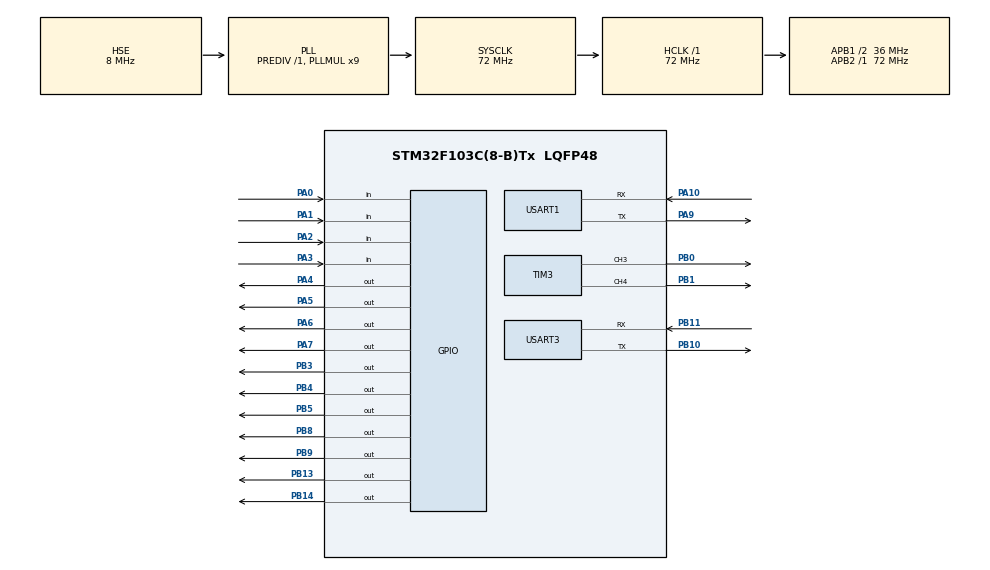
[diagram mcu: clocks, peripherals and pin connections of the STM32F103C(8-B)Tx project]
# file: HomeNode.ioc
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Mcu.Family=STM32F1
Mcu.Name=STM32F103C(8-B)Tx
Mcu.Package=LQFP48
NVIC.PriorityGroup=NVIC_PRIORITYGROUP_4
NVIC.USART3_IRQn=true\:0\:0\:false\:false\:true\:true\:true\:true
PA0-WKUP.Signal=GPIO_Input
PA1.Signal=GPIO_Input
PA10.Mode=Asynchronous
PA10.Signal=USART1_RX
PA13.Mode=Serial_Wire
PA13.Signal=SYS_JTMS-SWDIO
PA14.Mode=Serial_Wire
PA14.Signal=SYS_JTCK-SWCLK
PA2.Signal=GPIO_Input
PA3.Signal=GPIO_Input
PA4.Signal=GPIO_Output
PA5.Signal=GPIO_Output
PA6.Signal=GPIO_Output
PA7.Signal=GPIO_Output
PA9.Mode=Asynchronous
PA9.Signal=USART1_TX
PB0.Signal=S_TIM3_CH3
PB1.Signal=S_TIM3_CH4
PB10.Mode=Asynchronous
PB10.Signal=USART3_TX
PB11.Mode=Asynchronous
PB11.Signal=USART3_RX
PB13.Signal=GPIO_Output
PB14.Signal=GPIO_Output
PB3.Signal=GPIO_Output
PB4.Signal=GPIO_Output
PB5.Signal=GPIO_Output
PB8.Signal=GPIO_Output
PB9.Signal=GPIO_Output
PC14-OSC32_IN.Mode=LSE-External-Oscillator
PC14-OSC32_IN.Signal=RCC_OSC32_IN
PC15-OSC32_OUT.Mode=LSE-External-Oscillator
PC15-OSC32_OUT.Signal=RCC_OSC32_OUT
PD0-OSC_IN.Mode=HSE-External-Oscillator
PD0-OSC_IN.Signal=RCC_OSC_IN
PD1-OSC_OUT.Mode=HSE-External-Oscillator
PD1-OSC_OUT.Signal=RCC_OSC_OUT
ProjectManager.HeapSize=0x200
ProjectManager.StackSize=0x400
ProjectManager.TargetToolchain=CMake
RCC.AHBFreq_Value=72000000
RCC.APB1CLKDivider=RCC_HCLK_DIV2
RCC.APB1Freq_Value=36000000
RCC.APB1TimFreq_Value=72000000
RCC.APB2Freq_Value=72000000
RCC.APB2TimFreq_Value=72000000
RCC.HCLKFreq_Value=72000000
RCC.PLLMUL=RCC_PLL_MUL9
RCC.PLLSourceVirtual=RCC_PLLSOURCE_HSE
RCC.RTCClockSelection=RCC_RTCCLKSOURCE_LSE
RCC.SYSCLKFreq_VALUE=72000000
RCC.SYSCLKSource=RCC_SYSCLKSOURCE_PLLCLK
RCC.USBFreq_Value=72000000
SH.S_TIM3_CH3.0=TIM3_CH3,PWM Generation3 CH3
SH.S_TIM3_CH4.0=TIM3_CH4,PWM Generation4 CH4
TIM2.Prescaler=71
TIM3.Channel-PWM\ Generation3\ CH3=TIM_CHANNEL_3
TIM3.Channel-PWM\ Generation4\ CH4=TIM_CHANNEL_4
USART1.VirtualMode=VM_ASYNC
USART3.VirtualMode=VM_ASYNC
VP_RTC_VS_RTC_Activate.Mode=RTC_Enabled
VP_RTC_VS_RTC_Calendar.Mode=RTC_Calendar
VP_TIM2_VS_ClockSourceINT.Mode=Internal
board=custom

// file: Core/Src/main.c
/* USER CODE BEGIN Header */
/**
  ******************************************************************************
  * @file           : main.c
  * @brief          : Main program body
  ******************************************************************************
  * @attention
  *
  * Copyright (c) 2026 STMicroelectronics.
  * All rights reserved.
  *
  * This software is licensed under terms that can be found in the LICENSE file
  * in the root directory of this software component.
  * If no LICENSE file comes with this software, it is provided AS-IS.
  *
  ******************************************************************************
  */
/* USER CODE END Header */
#include "main.h"
#include "rtc.h"
#include "tim.h"
#include "usart.h"
#include "gpio.h"

/* USER CODE BEGIN Includes */
#include "app_node.h"
#include <string.h>

/* USER CODE END Includes */

/* USER CODE BEGIN PD */

#define APP_USE_DEBUG_UART1 1U

/* USER CODE END PD */

/* USER CODE BEGIN PV */
static APP_NodeContext g_node;
volatile uint32_t g_bootStage = 0U;
volatile uint32_t g_errorStage = 0U;

/* USER CODE END PV */

void SystemClock_Config(void);

int main(void)
{

  /* MCU Configuration--------------------------------------------------------*/

  /* Reset of all peripherals, Initializes the Flash interface and the Systick. */
  g_bootStage = 10U;
  HAL_Init();

  /* Configure the system clock */
  g_bootStage = 20U;
  SystemClock_Config();

  /* Initialize all configured peripherals */
  g_bootStage = 30U;
  MX_GPIO_Init();
  g_bootStage = 40U;
  MX_RTC_Init();
  g_bootStage = 50U;
  MX_TIM2_Init();
  g_bootStage = 60U;
  MX_TIM3_Init();
  g_bootStage = 70U;
  MX_USART3_UART_Init();
  g_bootStage = 80U;
  MX_USART1_UART_Init();
  /* USER CODE BEGIN 2 */
#if APP_USE_DEBUG_UART1
  extern UART_HandleTypeDef huart1;
  const char bootMessage[] = "[BOOT] USART1 debug ready\r\n";
  APP_Node_SetDebugUart(&huart1);
  (void)HAL_UART_Transmit(&huart1,
                          (uint8_t*)bootMessage,
                          (uint16_t)strlen(bootMessage),
                          1000U);
#endif

  g_bootStage = 90U;
  if (APP_Node_Init(&g_node) != HAL_OK)
  {
    Error_Handler();
  }

  /* USER CODE END 2 */

  /* Infinite loop */
  while (1)
  {

    /* USER CODE BEGIN 3 */
    /* Single app tick: local IO, sensor poll and ESP state machine are all inside. */
    APP_Node_Process(&g_node);
  }
  /* USER CODE END 3 */
}

void SystemClock_Config(void)
{
  RCC_OscInitTypeDef RCC_OscInitStruct = {0};
  RCC_ClkInitTypeDef RCC_ClkInitStruct = {0};
  RCC_PeriphCLKInitTypeDef PeriphClkInit = {0};

  /** Initializes the RCC Oscillators according to the specified parameters
  * in the RCC_OscInitTypeDef structure.
  */
  RCC_OscInitStruct.OscillatorType = RCC_OSCILLATORTYPE_HSE|RCC_OSCILLATORTYPE_LSI;
  RCC_OscInitStruct.HSEState = RCC_HSE_ON;
  RCC_OscInitStruct.HSEPredivValue = RCC_HSE_PREDIV_DIV1;
  RCC_OscInitStruct.LSIState = RCC_LSI_ON;
  RCC_OscInitStruct.HSIState = RCC_HSI_ON;
  RCC_OscInitStruct.PLL.PLLState = RCC_PLL_ON;
  RCC_OscInitStruct.PLL.PLLSource = RCC_PLLSOURCE_HSE;
  RCC_OscInitStruct.PLL.PLLMUL = RCC_PLL_MUL9;
  g_bootStage = 21U;
  if (HAL_RCC_OscConfig(&RCC_OscInitStruct) != HAL_OK)
  {
    Error_Handler();
  }

  /** Initializes the CPU, AHB and APB buses clocks
  */
  RCC_ClkInitStruct.ClockType = RCC_CLOCKTYPE_HCLK|RCC_CLOCKTYPE_SYSCLK
                              |RCC_CLOCKTYPE_PCLK1|RCC_CLOCKTYPE_PCLK2;
  RCC_ClkInitStruct.SYSCLKSource = RCC_SYSCLKSOURCE_PLLCLK;
  RCC_ClkInitStruct.AHBCLKDivider = RCC_SYSCLK_DIV1;
  RCC_ClkInitStruct.APB1CLKDivider = RCC_HCLK_DIV2;
  RCC_ClkInitStruct.APB2CLKDivider = RCC_HCLK_DIV1;

  g_bootStage = 22U;
  if (HAL_RCC_ClockConfig(&RCC_ClkInitStruct, FLASH_LATENCY_2) != HAL_OK)
  {
    Error_Handler();
  }
  PeriphClkInit.PeriphClockSelection = RCC_PERIPHCLK_RTC;
  PeriphClkInit.RTCClockSelection = RCC_RTCCLKSOURCE_LSI;
  g_bootStage = 23U;
  if (HAL_RCCEx_PeriphCLKConfig(&PeriphClkInit) != HAL_OK)
  {
    Error_Handler();
  }
}

void Error_Handler(void)
{
  /* USER CODE BEGIN Error_Handler_Debug */
  /* User can add his own implementation to report the HAL error return state */
  g_errorStage = g_bootStage;
  __disable_irq();
  while (1)
  {
  }
  /* USER CODE END Error_Handler_Debug */
}
